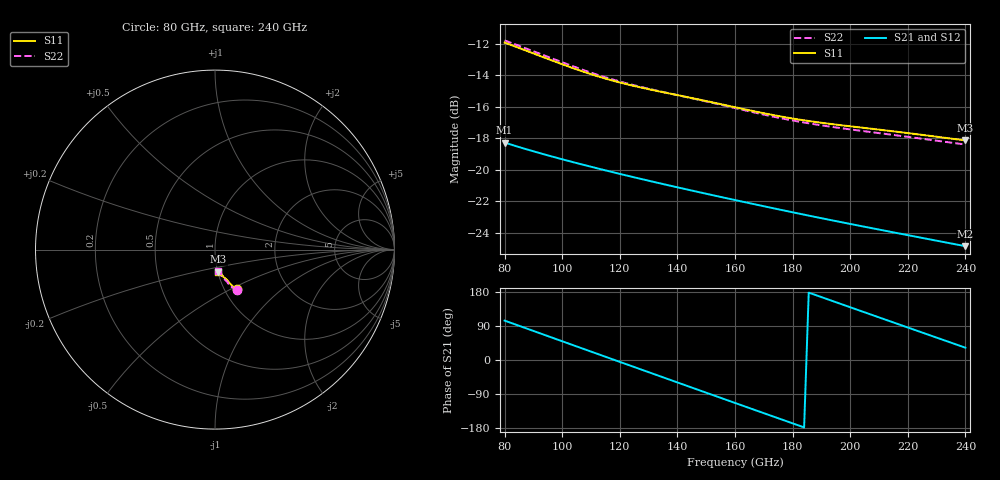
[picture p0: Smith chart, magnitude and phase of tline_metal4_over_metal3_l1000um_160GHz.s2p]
#  GHZ S DB R 50
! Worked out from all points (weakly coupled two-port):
!   101 points, 80 GHz to 240 GHz, reference 50 ohm
!   highest |S21| = -18.26 dB at 80 GHz (marker M1); lowest = -24.8 dB at 240 GHz (marker M2)
!   lowest |S11| = -18.1 dB at 240 GHz (marker M3), VSWR 1.28, Z = 50.3 - j12.5 ohm
!   |S11| at or under -10 dB: start of sweep to end of sweep
!   |S22| runs from -18.4 to -11.8 dB; largest |S21 - S12| = 7.8e-14
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80  -11.91 -60.4  -18.26 104.0  -18.26 104.0  -11.78 -61.3
86.4  -12.35 -62.2  -18.62 86.5  -18.62 86.5  -12.21 -63.3
92.8  -12.80 -63.8  -18.96 69.1  -18.96 69.1  -12.66 -65.1
100.8  -13.34 -65.3  -19.36 47.3  -19.36 47.3  -13.22 -66.9
107.2  -13.75 -66.3  -19.67 29.9  -19.67 29.9  -13.64 -68.1
113.6  -14.12 -67.0  -19.96 12.4  -19.96 12.4  -14.04 -68.9
120  -14.45 -67.6  -20.25 -5.0  -20.25 -5.0  -14.38 -69.7
126.4  -14.73 -68.2  -20.53 -22.3  -20.53 -22.3  -14.69 -70.4
134.4  -15.04 -69.2  -20.87 -44.0  -20.87 -44.0  -15.02 -71.4
140.8  -15.28 -70.1  -21.14 -61.4  -21.14 -61.4  -15.28 -72.3
147.2  -15.52 -71.0  -21.40 -78.7  -21.40 -78.7  -15.54 -73.3
153.6  -15.76 -72.0  -21.66 -96.0  -21.66 -96.0  -15.80 -74.3
160  -16.02 -72.8  -21.91 -113.3  -21.91 -113.3  -16.07 -75.2
168  -16.32 -73.7  -22.23 -134.9  -22.23 -134.9  -16.40 -76.1
174.4  -16.55 -74.2  -22.47 -152.1  -22.47 -152.1  -16.66 -76.7
180.8  -16.76 -74.7  -22.72 -169.3  -22.72 -169.3  -16.89 -77.2
187.2  -16.93 -75.2  -22.96 173.5  -22.96 173.5  -17.09 -77.6
193.6  -17.09 -75.8  -23.20 156.4  -23.20 156.4  -17.26 -78.1
201.6  -17.26 -76.6  -23.49 134.9  -23.49 134.9  -17.46 -78.8
214.4  -17.53 -78.1  -23.94 100.7  -23.94 100.7  -17.76 -80.1
225.6  -17.79 -79.6  -24.34 70.8  -24.34 70.8  -18.03 -81.3
240  -18.12 -81.4  -24.84 32.5  -24.84 32.5  -18.38 -82.8
